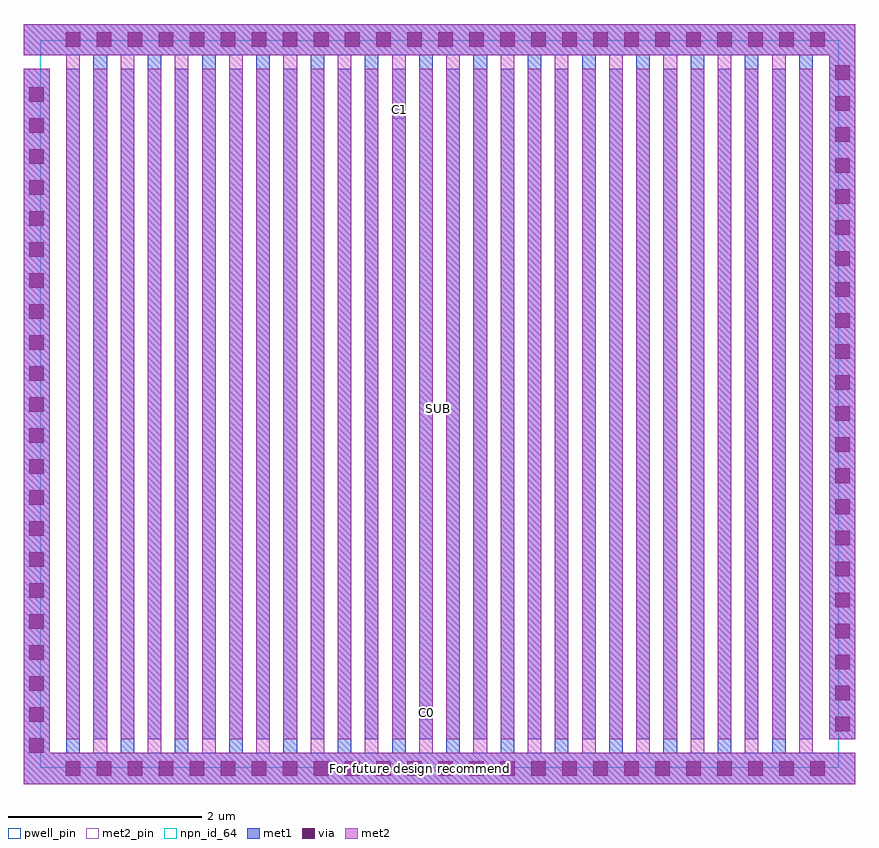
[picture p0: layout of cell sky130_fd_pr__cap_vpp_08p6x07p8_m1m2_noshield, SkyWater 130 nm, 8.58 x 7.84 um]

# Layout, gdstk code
import gdstk
lib = gdstk.Library(unit=1e-6, precision=1e-09)
def R(c, l, rs):  # rectangles x0, y0, x1, y1
    for r in rs: c.add(gdstk.rectangle(r[:2], r[2:], *l))
def A(c, l, x, y, w, h, nx, ny, dx, dy):  # array of equal rectangles
    R(c, l, [(x+i*dx, y+j*dy, x+i*dx+w, y+j*dy+h) for i in range(nx) for j in range(ny)])
met1 = (68, 20)
via = (68, 44)
met2_pin = (69, 16)
met2 = (69, 20)
npn_id_64 = (82, 64)
pwell_pin = (122, 16)

sky130_fd_pr__cap_vpp_08 = lib.new_cell('sky130_fd_pr__cap_vpp_08p6x07p8_m1m2_noshield')
A(sky130_fd_pr__cap_vpp_08, met1, 0, 0.32, 0.14, 7.06, 14, 1, 0.56, 0)
A(sky130_fd_pr__cap_vpp_08, met1, 0.28, 0.46, 0.14, 7.06, 14, 1, 0.56, 0)
R(sky130_fd_pr__cap_vpp_08, met1, [(-0.44,0,8.14,0.32), (-0.44,0.32,-0.17,7.38), (7.87,0.46,8.14,7.52), (-0.44,7.52,8.14,7.84)])
A(sky130_fd_pr__cap_vpp_08, via, -0.38, 0.32, 0.15, 0.15, 1, 22, 0, 0.32)
A(sky130_fd_pr__cap_vpp_08, via, 7.93, 0.545, 0.15, 0.15, 1, 22, 0, 0.32)
A(sky130_fd_pr__cap_vpp_08, via, -0.005, 7.605, 0.15, 0.15, 25, 1, 0.32, 0)
R(sky130_fd_pr__cap_vpp_08, via, [(-0.005,0.085,0.145,0.235), (-0.005,0.085,0.145,0.235), (0.315,0.085,0.465,0.235), (0.315,0.085,0.465,0.235), (0.635,0.085,0.785,0.235), (0.635,0.085,0.785,0.235), (0.955,0.085,1.105,0.235), (0.955,0.085,1.105,0.235), (1.275,0.085,1.425,0.235), (1.275,0.085,1.425,0.235), (1.595,0.085,1.745,0.235), (1.595,0.085,1.745,0.235), (1.915,0.085,2.065,0.235), (1.915,0.085,2.065,0.235), (2.235,0.085,2.385,0.235), (2.235,0.085,2.385,0.235), (2.555,0.085,2.705,0.235), (2.555,0.085,2.705,0.235), (2.875,0.085,3.025,0.235), (2.875,0.085,3.025,0.235), (3.195,0.085,3.345,0.235), (3.195,0.085,3.345,0.235), (3.515,0.085,3.665,0.235), (3.515,0.085,3.665,0.235), (3.835,0.085,3.985,0.235), (3.835,0.085,3.985,0.235), (4.155,0.085,4.305,0.235), (4.155,0.085,4.305,0.235), (4.475,0.085,4.625,0.235), (4.475,0.085,4.625,0.235), (4.795,0.085,4.945,0.235), (4.795,0.085,4.945,0.235), (5.115,0.085,5.265,0.235), (5.115,0.085,5.265,0.235), (5.435,0.085,5.585,0.235), (5.435,0.085,5.585,0.235), (5.755,0.085,5.905,0.235), (5.755,0.085,5.905,0.235), (6.075,0.085,6.225,0.235), (6.075,0.085,6.225,0.235), (6.395,0.085,6.545,0.235), (6.395,0.085,6.545,0.235), (6.715,0.085,6.865,0.235), (6.715,0.085,6.865,0.235), (7.035,0.085,7.185,0.235), (7.035,0.085,7.185,0.235), (7.355,0.085,7.505,0.235), (7.355,0.085,7.505,0.235), (7.675,0.085,7.825,0.235), (7.675,0.085,7.825,0.235)])
R(sky130_fd_pr__cap_vpp_08, met2_pin, [(3.645,0.665,3.77,0.805), (3.37,6.865,3.485,7)])
A(sky130_fd_pr__cap_vpp_08, met2, 0.28, 0.32, 0.14, 7.06, 14, 1, 0.56, 0)
A(sky130_fd_pr__cap_vpp_08, met2, 0, 0.46, 0.14, 7.06, 14, 1, 0.56, 0)
R(sky130_fd_pr__cap_vpp_08, met2, [(-0.44,0,8.14,0.32), (-0.44,0.32,-0.17,7.38), (7.87,0.46,8.14,7.52), (-0.44,7.52,8.14,7.84)])
R(sky130_fd_pr__cap_vpp_08, npn_id_64, [(-0.27,0.17,7.97,7.67)])
R(sky130_fd_pr__cap_vpp_08, pwell_pin, [(3.805,3.825,3.88,3.915)])
sky130_fd_pr__cap_vpp_08.add(gdstk.Label('For future design recommend using caps in MTM-378', (3.675,0.165), layer=83, texttype=44))
sky130_fd_pr__cap_vpp_08.add(gdstk.Label('C1', (3.435,6.955), layer=69, texttype=5))
sky130_fd_pr__cap_vpp_08.add(gdstk.Label('C0', (3.72,0.735), layer=69, texttype=5))
sky130_fd_pr__cap_vpp_08.add(gdstk.Label('SUB', (3.843,3.87), layer=64, texttype=59))

lib.write_gds('sky130_fd_pr__cap_vpp_08p6x07p8_m1m2_noshield.gds')
